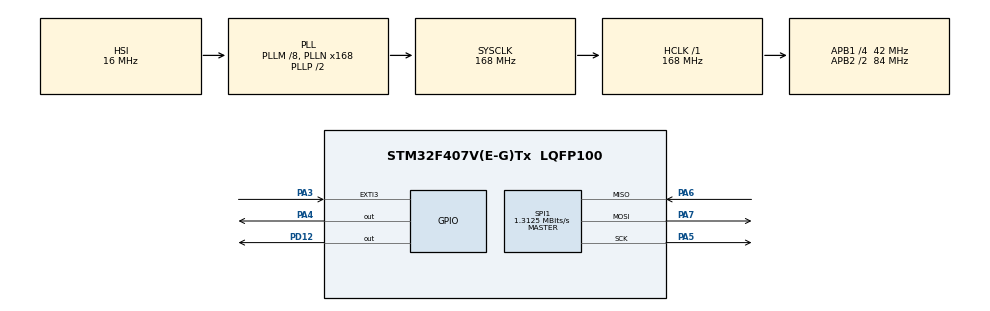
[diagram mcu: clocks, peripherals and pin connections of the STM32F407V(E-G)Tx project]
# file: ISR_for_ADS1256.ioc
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Mcu.Family=STM32F4
Mcu.Name=STM32F407V(E-G)Tx
Mcu.Package=LQFP100
NVIC.EXTI3_IRQn=true\:0\:0\:false\:false\:true\:true\:true
NVIC.PriorityGroup=NVIC_PRIORITYGROUP_4
PA3.GPIO_ModeDefaultEXTI=GPIO_MODE_IT_FALLING
PA3.Signal=GPXTI3
PA4.GPIO_PuPd=GPIO_PULLUP
PA4.GPIO_Speed=GPIO_SPEED_FREQ_VERY_HIGH
PA4.PinState=GPIO_PIN_RESET
PA4.Signal=GPIO_Output
PA5.Mode=Full_Duplex_Master
PA5.Signal=SPI1_SCK
PA6.Mode=Full_Duplex_Master
PA6.Signal=SPI1_MISO
PA7.Mode=Full_Duplex_Master
PA7.Signal=SPI1_MOSI
PD12.Signal=GPIO_Output
ProjectManager.HeapSize=0x200
ProjectManager.StackSize=0x400
ProjectManager.TargetToolchain=STM32CubeIDE
RCC.48MHZClocksFreq_Value=84000000
RCC.AHBFreq_Value=168000000
RCC.APB1CLKDivider=RCC_HCLK_DIV4
RCC.APB1Freq_Value=42000000
RCC.APB1TimFreq_Value=84000000
RCC.APB2CLKDivider=RCC_HCLK_DIV2
RCC.APB2Freq_Value=84000000
RCC.APB2TimFreq_Value=168000000
RCC.CortexFreq_Value=168000000
RCC.HCLKFreq_Value=168000000
RCC.HSE_VALUE=25000000
RCC.HSI_VALUE=16000000
RCC.LSE_VALUE=32768
RCC.PLLM=8
RCC.PLLN=168
RCC.SYSCLKFreq_VALUE=168000000
RCC.SYSCLKSource=RCC_SYSCLKSOURCE_PLLCLK
RCC.VCOOutputFreq_Value=336000000
SPI1.BaudRatePrescaler=SPI_BAUDRATEPRESCALER_64
SPI1.CLKPhase=SPI_PHASE_2EDGE
SPI1.CalculateBaudRate=1.3125 MBits/s
SPI1.Direction=SPI_DIRECTION_2LINES
SPI1.Mode=SPI_MODE_MASTER
SPI1.VirtualType=VM_MASTER
VP_TIM4_VS_ClockSourceINT.Mode=Internal
board=custom

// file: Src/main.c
/* USER CODE BEGIN Header */
/**
  ******************************************************************************
  * @file           : main.c
  * @brief          : Main program body
  ******************************************************************************
  * @attention
  *
  * <h2><center>&copy; Copyright (c) 2019 STMicroelectronics.
  * All rights reserved.</center></h2>
  *
  * This software component is licensed by ST under BSD 3-Clause license,
  * the "License"; You may not use this file except in compliance with the
  * License. You may obtain a copy of the License at:
  *                        opensource.org/licenses/BSD-3-Clause
  *
  ******************************************************************************
  */
/* USER CODE END Header */

#include "main.h"

/* USER CODE BEGIN Includes */
#include "Delay.h"
/* USER CODE END Includes */

/* USER CODE BEGIN PD */
#define DRDY_IS_LOW() (HAL_GPIO_ReadPin(GPIOA, GPIO_PIN_3)==0)
#define CS_0()	HAL_GPIO_WritePin(GPIOA, GPIO_PIN_4, GPIO_PIN_RESET);
#define CS_1()	HAL_GPIO_WritePin(GPIOA, GPIO_PIN_4, GPIO_PIN_SET);
/* USER CODE END PD */

SPI_HandleTypeDef hspi1;

TIM_HandleTypeDef htim4;

/* USER CODE BEGIN PV */
int i=0;
uint8_t id=0;
uint8_t TxData[8];
float data;
float mean_data;
float max_data;
float values_DIFF[3000];
int num_sample_DIFF = 3000;

volatile float test_value[10] = {11,2,3,4,5,6,7,8,9,10};

//uint8_t  posChannels [4] = {AIN0, AIN2, AIN4, AIN6};
//uint8_t  negChannels [4] = {AIN1, AIN3, AIN5, AIN7};
uint8_t  posChannels [1] = {AIN0}; // TESTING
uint8_t  negChannels [1] = {AIN1}; // TESTING

uint8_t DRDYpinFlag = 0;
uint8_t CSpinFlag = 0;
volatile uint8_t DRDYFLAG = 0;
/* USER CODE END PV */

void SystemClock_Config(void);
static void MX_GPIO_Init(void);
static void MX_SPI1_Init(void);
static void MX_TIM4_Init(void);
/* USER CODE BEGIN PFP */
void waitDRDY(void);
void setBuffer(void);
uint8_t readByteFromReg(uint8_t registerID);
uint8_t receive8bit(void);
uint8_t readChipID(void);
void send8bit(uint8_t data);
void setPGA(uint8_t pga);
void writeByteToReg(uint8_t registerID, uint8_t value);
void setDataRate(uint8_t drate);
void scanSEChannels(uint8_t channels[], uint8_t numOfChannels, float *values);
int32_t getValSEChannel(uint8_t channel);
float getValDIFFChannel(uint8_t positiveCh, uint8_t negativeCh);
void setSEChannel(uint8_t channel);
void setDIFFChannel(uint8_t positiveCh, uint8_t NegativeCh);
void writeCMD(uint8_t command);
int32_t readData(void);
float Statistic_mean(float * data, int length);
float Statistic_max(float * data, int length);
/* USER CODE END PFP */

/* USER CODE BEGIN 0 */

/*
*********************************************************************************************************
*	name: setDIFFChannel
*	function: Write to MUX register - set channel to read from in single-ended mode
*   Bit 7,6,5,4 determine the positive input channel (AINp).
*   Bit 3,2,1,0 determine the negative input channel (AINn). e.g. (0-1, 2,3 - 4,5 - 6,7)
*	parameter:
*	The return value: val
*********************************************************************************************************
*/
void setDIFFChannel(uint8_t positiveCh, uint8_t NegativeCh)
{
	writeByteToReg(REG_MUX, positiveCh <<4 | NegativeCh); //xxxx1000 - AINp = positiveCh, AINn = NegativeCh
}
/*
*********************************************************************************************************
*	name: getValDIFFChannel
*	Get one differential analog input value by issuing command to input multiplexer.
* 	It reads a value from previous conversion!
*	DRDY needs to be low!
*	parameter:
*	The return value: val
*********************************************************************************************************
*/
float getValDIFFChannel(uint8_t positiveCh, uint8_t negativeCh)
{
	float read = 0;
	writeCMD(CMD_SYNC);
	delay_us(5);
	writeCMD(CMD_WAKEUP);
	delay_us(3); // min delayus: t11 = 4 * 1 / 7,68 Mhz = 0,52 micro sec
	read = readData();
	read = read / 1670000;
	data = read;
	return read;
}

/*
*********************************************************************************************************
*	name: scanDIFFChannels
*	Get one differential analog input value from input channels you set (min 1, max 4).
* 	It reads a value from previous conversion!
*	DRDY needs to be low!
*	parameter:
*	The return value: val
*********************************************************************************************************
*/
void scanDIFFChannels(uint8_t positiveChs[], uint8_t negativeChs[], int numOfSamples, float *values)
{
	for (int i = 0; i < numOfSamples; ++i){
		waitDRDY();
		values[i] = getValDIFFChannel(positiveChs[0], negativeChs[0]);
	}
}
/*
*********************************************************************************************************
*	name: readData
*	function: Read 24 bit value from SPI bus, when DRDY goes low to read signle conversion result
* 	Allows reading data from multiple different channels.
*	parameter: None
*	The return value: None
*********************************************************************************************************
*/
int32_t readData(void)
{
	int32_t read = 0;
	uint8_t send_data[3] = {0xff,0xff,0xff};
	uint8_t buffer[3] = {0x00,0x00,0x00};
    uint8_t cmdbuffer[1] = {CMD_RDATA};
    //waitDRDY();
	CS_0();
    //DRDYpinFlag=HAL_GPIO_ReadPin(GPIOA, GPIO_PIN_3);
    //CSpinFlag=HAL_GPIO_ReadPin(GPIOA, GPIO_PIN_3);
	HAL_SPI_Transmit(&hspi1, cmdbuffer ,1,50);
	//send8bit(CMD_RDATA);
	delay_us(10);// min delay: t6 = 50 * 1/freq.clkin = 50 * 1 / 7,68 Mhz = 6.5 micro sec

	HAL_SPI_TransmitReceive(&hspi1,send_data,buffer,3,50);
	// DRDY goes high here

	// construct 24 bit value
	read =  ((int32_t)buffer[0] << 16) & 0x00FF0000;
	read |= ((int32_t)buffer[1] << 8);
	read |= buffer[2];
	if (read & 0x800000){
		read |= 0xFF000000;
	}

	CS_1();

	return (int32_t)read;
}
/*
*********************************************************************************************************
*	name: writeCMD
*	function: Send Standalone commands to register
*	parameter: command
*	The return value: None
*********************************************************************************************************
*/

void writeCMD(uint8_t command)
{
	uint8_t Txbuffer[1];
	Txbuffer[0] = command;
	CS_0();
	HAL_SPI_Transmit(&hspi1, Txbuffer ,1,50);
	CS_1();
}

/*
*********************************************************************************************************
*	name: setSEChannel
*	function: Write to MUX register - set channel to read from in single-ended mode
*   Bit 7,6,5,4 determine the positive input channel (AINp).
*   Bit 3,2,1,0 determine the negative input channel (AINn). True Ground
*	parameter:
*	The return value: val
*********************************************************************************************************
*/
void setSEChannel(uint8_t channel)
{
	writeByteToReg(REG_MUX, channel << 4 | 1 << 3); //xxxx1000 - AINp = channel, AINn = AINCOM
}
/*
*********************************************************************************************************
*	name: getValSEChannel
*	Get one single-ended analog input value by issuing command to input multiplexer.
*	It reads a value from previous conversion!
* 	DRDY needs to be low!
*	parameter:
*	The return value: val
*********************************************************************************************************
*/
int32_t getValSEChannel(uint8_t channel)
{
	float read = 0;
	setSEChannel(channel); // MUX command
	delay_us(10); // min delay: t11 = 24 * 1 / 7,68 Mhz = 3,125 micro sec
	writeCMD(CMD_SYNC);    // SYNC command
	delay_us(10);
	writeCMD(CMD_WAKEUP);  // WAKEUP command
	delay_us(5); // min delay: t11 = 4 * 1 / 7,68 Mhz = 0,52 micro sec
	read = readData();
	read = read / 1670000;
	data = read;
	return read;
}
/*
 *
*********************************************************************************************************
*	name: scanSEChannels
*	Get one single-ended analog input value from input channels you set (min 1, max 8).
* 	It reads a value from previous conversion!
*	DRDY needs to be low!
*	parameter:
*	The return value: val
*********************************************************************************************************
*/
void scanSEChannels(uint8_t channels[], uint8_t numOfChannels, float *values)
{
	for (int i = 0; i < numOfChannels; ++i){
		waitDRDY();
		values[i] = getValSEChannel(channels[i]);
	}
}
/*
*********************************************************************************************************
*	name: setDataRate
*	function: sampling rate of collection
*	parameter: pga
*	The return value: None
*********************************************************************************************************
*/

void setDataRate(uint8_t drate)
{
	writeByteToReg(REG_DRATE,drate);
}
/**
*********************************************************************************************************
*	name: writeByteToReg
*	function: read 1 byte from register address registerID.
*	parameter: register ID
*	The return value:
*********************************************************************************************************
*/
void writeByteToReg(uint8_t registerID, uint8_t value)
{
	uint8_t Txbuffer[3];
	Txbuffer[0] = CMD_WREG | registerID;
	Txbuffer[1] = 0x00;
	Txbuffer[2] = value;
	CS_0();
	HAL_SPI_Transmit(&hspi1, Txbuffer ,3,100);
	/*
	send8bit(CMD_WREG | registerID);		//1syt byte: address of the first register to write
	send8bit(0x00);							//2nd byte: number of byte to write = 1.
	send8bit(value);						//3rd byte: value to write to register
	*/
	CS_1();

}
/*
*********************************************************************************************************
*	name: setPGA
*	function: Set gain of amplifier
*	parameter: pga
*	The return value: None
*********************************************************************************************************
*/
void setPGA(uint8_t pga)
{
	writeByteToReg(REG_ADCON,pga);
}
/*
*********************************************************************************************************
*	name: Send8bit
*	function: SPI send data to SPI slave
*	parameter: data
*	The return value: NULL
*********************************************************************************************************
*/
void send8bit(uint8_t data)
{
	HAL_SPI_Transmit(&hspi1, &data ,1,100);
}
/*
*********************************************************************************************************
*	name: waitDRDY
*	function: Wait for DRDY is Low
*	parameter: data
*	The return value: None
*********************************************************************************************************
*/
void waitDRDY(void)
{
	uint32_t i;
		for (i = 0; i < 40000000; i++){
			if (DRDY_IS_LOW()){
				break;
			}
		}
		/*
	while(!DRDY_IS_LOW())
	{
		continue;
	}
		 */
}
/*
*********************************************************************************************************
*	name: readChipID
*	function: Get data from Status register - chipID "check"
*	parameter:
*	The return value: val
*********************************************************************************************************
*/
uint8_t readChipID(void)
{
	waitDRDY();
	volatile uint8_t id = readByteFromReg(REG_STATUS);
	return (id >> 4);
}

/*
*********************************************************************************************************
*	name: receive8bit
*	function: receive data from SPI slave
*	parameter: data
*	The return value: NULL
*********************************************************************************************************
*/
uint8_t receive8bit(void)
{
	/*
	uint8_t TXbuffer[1];
	uint8_t RXbuffer[1];
	TXbuffer[0] = 0xff;

	HAL_SPI_Transmit(&hspi1, TXbuffer ,1,50);
	HAL_SPI_Receive(&hspi1, RXbuffer ,1,50);

	return RXbuffer[0];
	*/
	uint8_t send_data = 0xff;
	uint8_t read = 0;
	HAL_SPI_TransmitReceive(&hspi1,&send_data,&read,1,50);
	return read;

}
/*
*********************************************************************************************************
*	name: readByteFromReg
*	function: read 1 byte from register address registerID.
*	parameter: register ID
*	The return value:
*********************************************************************************************************
*/
uint8_t readByteFromReg(uint8_t registerID)
{
	uint8_t TXbuffer[2];
	TXbuffer[0] = CMD_RREG | registerID;
	TXbuffer[1] = 0x00;
	CS_0();
	HAL_SPI_Transmit(&hspi1, TXbuffer ,2,50);
	delay_us(10);
	uint8_t read = receive8bit();
	CS_1();

	return read;
}
/*
*********************************************************************************************************
*	name: setBuffer
*	function: Set the internal buffer (True-enable), (Fasle-disable)
*	parameter: bool val
*	The return value: val
*********************************************************************************************************
*/
void setBuffer(void)
{
	uint8_t val = 1;
	uint8_t Txbuffer[2];
	Txbuffer[0] = CMD_WREG | REG_STATUS;
	Txbuffer[1] = (0 <<3) | (1 << 2) | (val << 1);

	CS_0();
	HAL_SPI_Transmit(&hspi1, Txbuffer ,2,50);
	//send8bit(CMD_WREG | REG_STATUS);
	//send8bit((0 <<3) | (1 << 2) | (val << 1));
	CS_1();
}

float Statistic_mean(float * data, int length)
{
   float temp = 0;
   float average =0.0f;
   for(int i=0; i<length; i++)
   {
	   temp += data[i];
   }
   average = temp / length;
   return average;
}

float Statistic_max(float * data, int length)
{
	float maximum;
    maximum = data[0];
    for(int i=0; i<length; i++)
    {
	    if(data[i] > maximum)
	    {
		    maximum =data[i];
	    }
    }
	return maximum;
}
/* USER CODE END 0 */

int main(void)
{

  /* MCU Configuration--------------------------------------------------------*/

  /* Reset of all peripherals, Initializes the Flash interface and the Systick. */
  HAL_Init();

  /* Configure the system clock */
  SystemClock_Config();

  /* Initialize all configured peripherals */
  MX_GPIO_Init();
  MX_SPI1_Init();
  MX_TIM4_Init();
  /* USER CODE BEGIN 2 */
  //HAL_TIM_Base_Start(&htim4);
  //HAL_TIM_Base_Start_IT(&htim4);
  //delay_ms(1000);
  delay_init(168);
  //CS_1();
  //volatile uint32_t sysclock = SystemCoreClock;
  setBuffer();
  setPGA(PGA_GAIN1);
  setDataRate(DRATE_2d5);
  id = readChipID();

  delay_ms(500);
  delay_ms(500);
  delay_ms(500);
  delay_ms(500);
  /* Single-end
   *   //int num_ch_SE = 8;
  int num_ch_SE = 1;
  int32_t values_SE [num_ch_SE];
  //uint8_t  channels_SE [8] = {AIN0, AIN1, AIN2, AIN3, AIN4, AIN5, AIN6, AIN7};
  uint8_t channels_SE [1] = {AIN0}; // TESTING
   *
   *
*/

	setDIFFChannel(posChannels[0], negChannels[0]);
	delay_us(5); // min delayus: t11 = 24 * 1 / 7,68 Mhz = 3,125 micro sec

  /* USER CODE END 2 */

  /* Infinite loop */
  while (1)
  {

    /* USER CODE BEGIN 3 */
	  //DRDYFLAG = 0;
	  //scanSEChannels(channels_SE, num_ch_SE, values_SE);

	//max_data = Statistic_max(values_DIFF,num_sample_DIFF);
	//mean_data = Statistic_mean(values_DIFF,num_sample_DIFF);
	delay_us(10);
  }
  /* USER CODE END 3 */
}

void SystemClock_Config(void)
{
  RCC_OscInitTypeDef RCC_OscInitStruct = {0};
  RCC_ClkInitTypeDef RCC_ClkInitStruct = {0};

  /** Configure the main internal regulator output voltage
  */
  __HAL_RCC_PWR_CLK_ENABLE();
  __HAL_PWR_VOLTAGESCALING_CONFIG(PWR_REGULATOR_VOLTAGE_SCALE1);
  /** Initializes the CPU, AHB and APB busses clocks
  */
  RCC_OscInitStruct.OscillatorType = RCC_OSCILLATORTYPE_HSI;
  RCC_OscInitStruct.HSIState = RCC_HSI_ON;
  RCC_OscInitStruct.HSICalibrationValue = RCC_HSICALIBRATION_DEFAULT;
  RCC_OscInitStruct.PLL.PLLState = RCC_PLL_ON;
  RCC_OscInitStruct.PLL.PLLSource = RCC_PLLSOURCE_HSI;
  RCC_OscInitStruct.PLL.PLLM = 8;
  RCC_OscInitStruct.PLL.PLLN = 168;
  RCC_OscInitStruct.PLL.PLLP = RCC_PLLP_DIV2;
  RCC_OscInitStruct.PLL.PLLQ = 4;
  if (HAL_RCC_OscConfig(&RCC_OscInitStruct) != HAL_OK)
  {
    Error_Handler();
  }
  /** Initializes the CPU, AHB and APB busses clocks
  */
  RCC_ClkInitStruct.ClockType = RCC_CLOCKTYPE_HCLK|RCC_CLOCKTYPE_SYSCLK
                              |RCC_CLOCKTYPE_PCLK1|RCC_CLOCKTYPE_PCLK2;
  RCC_ClkInitStruct.SYSCLKSource = RCC_SYSCLKSOURCE_PLLCLK;
  RCC_ClkInitStruct.AHBCLKDivider = RCC_SYSCLK_DIV1;
  RCC_ClkInitStruct.APB1CLKDivider = RCC_HCLK_DIV4;
  RCC_ClkInitStruct.APB2CLKDivider = RCC_HCLK_DIV2;

  if (HAL_RCC_ClockConfig(&RCC_ClkInitStruct, FLASH_LATENCY_5) != HAL_OK)
  {
    Error_Handler();
  }
}

static void MX_SPI1_Init(void)
{

  /* SPI1 parameter configuration*/
  hspi1.Instance = SPI1;
  hspi1.Init.Mode = SPI_MODE_MASTER;
  hspi1.Init.Direction = SPI_DIRECTION_2LINES;
  hspi1.Init.DataSize = SPI_DATASIZE_8BIT;
  hspi1.Init.CLKPolarity = SPI_POLARITY_LOW;
  hspi1.Init.CLKPhase = SPI_PHASE_2EDGE;
  hspi1.Init.NSS = SPI_NSS_SOFT;
  hspi1.Init.BaudRatePrescaler = SPI_BAUDRATEPRESCALER_64;
  hspi1.Init.FirstBit = SPI_FIRSTBIT_MSB;
  hspi1.Init.TIMode = SPI_TIMODE_DISABLE;
  hspi1.Init.CRCCalculation = SPI_CRCCALCULATION_DISABLE;
  hspi1.Init.CRCPolynomial = 10;
  if (HAL_SPI_Init(&hspi1) != HAL_OK)
  {
    Error_Handler();
  }

}

static void MX_TIM4_Init(void)
{

  TIM_ClockConfigTypeDef sClockSourceConfig = {0};
  TIM_MasterConfigTypeDef sMasterConfig = {0};

  htim4.Instance = TIM4;
  htim4.Init.Prescaler = 0;
  htim4.Init.CounterMode = TIM_COUNTERMODE_UP;
  htim4.Init.Period = 0;
  htim4.Init.ClockDivision = TIM_CLOCKDIVISION_DIV1;
  htim4.Init.AutoReloadPreload = TIM_AUTORELOAD_PRELOAD_DISABLE;
  if (HAL_TIM_Base_Init(&htim4) != HAL_OK)
  {
    Error_Handler();
  }
  sClockSourceConfig.ClockSource = TIM_CLOCKSOURCE_INTERNAL;
  if (HAL_TIM_ConfigClockSource(&htim4, &sClockSourceConfig) != HAL_OK)
  {
    Error_Handler();
  }
  sMasterConfig.MasterOutputTrigger = TIM_TRGO_RESET;
  sMasterConfig.MasterSlaveMode = TIM_MASTERSLAVEMODE_DISABLE;
  if (HAL_TIMEx_MasterConfigSynchronization(&htim4, &sMasterConfig) != HAL_OK)
  {
    Error_Handler();
  }

}

static void MX_GPIO_Init(void)
{
  GPIO_InitTypeDef GPIO_InitStruct = {0};

  /* GPIO Ports Clock Enable */
  __HAL_RCC_GPIOA_CLK_ENABLE();
  __HAL_RCC_GPIOD_CLK_ENABLE();

  /*Configure GPIO pin Output Level */
  HAL_GPIO_WritePin(GPIOA, GPIO_PIN_4, GPIO_PIN_RESET);

  /*Configure GPIO pin Output Level */
  HAL_GPIO_WritePin(GPIOD, GPIO_PIN_12, GPIO_PIN_RESET);

  /*Configure GPIO pin : PA3 */
  GPIO_InitStruct.Pin = GPIO_PIN_3;
  GPIO_InitStruct.Mode = GPIO_MODE_IT_FALLING;
  GPIO_InitStruct.Pull = GPIO_NOPULL;
  HAL_GPIO_Init(GPIOA, &GPIO_InitStruct);

  /*Configure GPIO pin : PA4 */
  GPIO_InitStruct.Pin = GPIO_PIN_4;
  GPIO_InitStruct.Mode = GPIO_MODE_OUTPUT_PP;
  GPIO_InitStruct.Pull = GPIO_PULLUP;
  GPIO_InitStruct.Speed = GPIO_SPEED_FREQ_VERY_HIGH;
  HAL_GPIO_Init(GPIOA, &GPIO_InitStruct);

  /*Configure GPIO pin : PD12 */
  GPIO_InitStruct.Pin = GPIO_PIN_12;
  GPIO_InitStruct.Mode = GPIO_MODE_OUTPUT_PP;
  GPIO_InitStruct.Pull = GPIO_NOPULL;
  GPIO_InitStruct.Speed = GPIO_SPEED_FREQ_LOW;
  HAL_GPIO_Init(GPIOD, &GPIO_InitStruct);

  /* EXTI interrupt init*/
  HAL_NVIC_SetPriority(EXTI3_IRQn, 0, 0);
  HAL_NVIC_EnableIRQ(EXTI3_IRQn);

}

/* USER CODE BEGIN 4 */
void HAL_TIM_PeriodElapsedCallback(TIM_HandleTypeDef *htim){
    if (htim->Instance == htim4.Instance){

    }
}

void HAL_GPIO_EXTI_Callback(uint16_t GPIO_Pin)
{
	if(GPIO_Pin == GPIO_PIN_3 && id == 3)
	{
		HAL_GPIO_TogglePin(GPIOD, GPIO_PIN_12);

		scanDIFFChannels(posChannels, negChannels, num_sample_DIFF, values_DIFF);
	}
}
/* USER CODE END 4 */

void Error_Handler(void)
{
}

/************************ (C) COPYRIGHT STMicroelectronics *****END OF FILE****/
